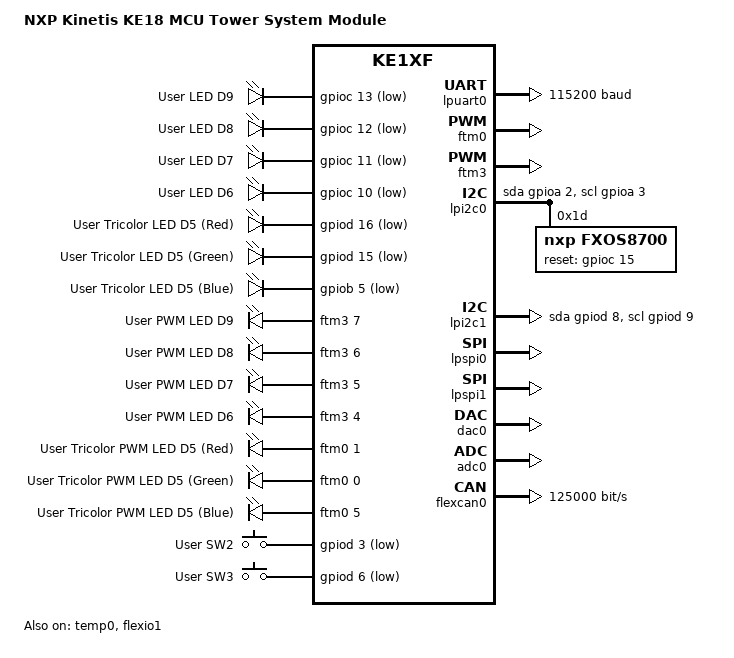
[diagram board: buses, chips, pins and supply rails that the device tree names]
/*
 * Copyright (c) 2019-2021 Vestas Wind Systems A/S
 *
 * SPDX-License-Identifier: Apache-2.0
 */

/dts-v1/;

#include <nxp/nxp_ke18f512vlx16.dtsi>
#include <zephyr/dt-bindings/clock/kinetis_scg.h>
#include <zephyr/dt-bindings/pwm/pwm.h>
#include "twr_ke18f-pinctrl.dtsi"
#include <zephyr/dt-bindings/input/input-event-codes.h>

/ {
	model = "NXP Kinetis KE18 MCU Tower System Module";
	compatible = "nxp,mke18f16", "nxp,ke18f", "nxp,ke1xf";

	aliases {
		led0 = &orange_led;
		led1 = &yellow_led;
		led2 = &green_led;
		led3 = &red_led;
		led4 = &tri_red_led;
		led5 = &tri_green_led;
		led6 = &tri_blue_led;
		pwm-led0 = &orange_pwm_led;
		pwm-led1 = &yellow_pwm_led;
		pwm-led2 = &green_pwm_led;
		pwm-led3 = &red_pwm_led;
		red-pwm-led = &tri_red_pwm_led;
		green-pwm-led = &tri_green_pwm_led;
		blue-pwm-led = &tri_blue_pwm_led;
		sw0 = &user_button_3;
		sw1 = &user_button_2;
		magn0 = &fxos8700;
		accel0 = &fxos8700;
	};

	chosen {
		/*
		 * Note: when using DMA, the SRAM region must be set to
		 * a memory region that is not cached by the chip. If the chosen
		 * sram region is changed and DMA is in use, you will
		 * encounter issues!
		 */
		zephyr,sram = &sram0;
		zephyr,flash = &flash0;
		zephyr,code-partition = &slot0_partition;
		zephyr,console = &lpuart0;
		zephyr,shell-uart = &lpuart0;
		zephyr,uart-pipe = &lpuart0;
		zephyr,canbus = &flexcan0;
	};

	leds {
		compatible = "gpio-leds";
		orange_led: led_0 {
			gpios = <&gpioc 13 GPIO_ACTIVE_LOW>;
			label = "User LED D9";
		};
		yellow_led: led_1 {
			gpios = <&gpioc 12 GPIO_ACTIVE_LOW>;
			label = "User LED D8";
		};
		green_led: led_2 {
			gpios = <&gpioc 11 GPIO_ACTIVE_LOW>;
			label = "User LED D7";
		};
		red_led: led_3 {
			gpios = <&gpioc 10 GPIO_ACTIVE_LOW>;
			label = "User LED D6";
		};

		tri_red_led: led_4 {
			gpios = <&gpiod 16 GPIO_ACTIVE_LOW>;
			label = "User Tricolor LED D5 (Red)";
		};
		tri_green_led: led_5 {
			gpios = <&gpiod 15 GPIO_ACTIVE_LOW>;
			label = "User Tricolor LED D5 (Green)";
		};
		tri_blue_led: led_6 {
			gpios = <&gpiob 5 GPIO_ACTIVE_LOW>;
			label = "User Tricolor LED D5 (Blue)";
		};
	};

	pwmleds {
		compatible = "pwm-leds";
		orange_pwm_led: led_pwm_0 {
			pwms = <&ftm3 7 PWM_MSEC(20) PWM_POLARITY_INVERTED>;
			label = "User PWM LED D9";
		};
		yellow_pwm_led: led_pwm_1 {
			pwms = <&ftm3 6 PWM_MSEC(20) PWM_POLARITY_INVERTED>;
			label = "User PWM LED D8";
		};
		green_pwm_led: led_pwm_2 {
			pwms = <&ftm3 5 PWM_MSEC(20) PWM_POLARITY_INVERTED>;
			label = "User PWM LED D7";
		};
		red_pwm_led: led_pwm_3 {
			pwms = <&ftm3 4 PWM_MSEC(20) PWM_POLARITY_INVERTED>;
			label = "User PWM LED D6";
		};

		tri_red_pwm_led: led_pwm_4 {
			pwms = <&ftm0 1 PWM_MSEC(20) PWM_POLARITY_INVERTED>;
			label = "User Tricolor PWM LED D5 (Red)";
		};
		tri_green_pwm_led: led_pwm_5 {
			pwms = <&ftm0 0 PWM_MSEC(20) PWM_POLARITY_INVERTED>;
			label = "User Tricolor PWM LED D5 (Green)";
		};
		tri_blue_pwm_led: led_pwm_6 {
			pwms = <&ftm0 5 PWM_MSEC(20) PWM_POLARITY_INVERTED>;
			label = "User Tricolor PWM LED D5 (Blue)";
		};
	};

	gpio_keys {
		compatible = "gpio-keys";
		user_button_2: button_0 {
			label = "User SW2";
			gpios = <&gpiod 3 GPIO_ACTIVE_LOW>;
			zephyr,code = <INPUT_KEY_0>;
		};
		user_button_3: button_1 {
			label = "User SW3";
			gpios = <&gpiod 6 GPIO_ACTIVE_LOW>;
			zephyr,code = <INPUT_KEY_1>;
		};
	};
};

&cpu0 {
	clock-frequency = <120000000>;
};

&idle {
	min-residency-us = <1>;
};

&stop {
	min-residency-us = <20000>;
	exit-latency-us = <13>;
};

&sim {
	clkout-source = <1>;
	clkout-divider = <0>;
};

&scg {
	sosc-mode = <KINETIS_SCG_SOSC_MODE_LOW_POWER>;

	sosc_clk {
		status = "okay";
		clock-frequency = <8000000>;
	};

	pll {
		clock-mult = <30>;
	};

	core_clk {
		clocks = <&spll_clk>;
	};

	bus_clk {
		clock-div = <2>;
	};

	slow_clk {
		clock-div = <5>;
	};

	clkout_clk {
		status = "okay";
	};

	splldiv1_clk {
		clock-div = <1>;
	};

	splldiv2_clk {
		clock-div = <2>;
	};

	sircdiv1_clk {
		clock-div = <1>;
	};

	sircdiv2_clk {
		clock-div = <2>;
	};

	fircdiv1_clk {
		clock-div = <1>;
	};

	fircdiv2_clk {
		clock-div = <1>;
	};

	soscdiv1_clk {
		clock-div = <1>;
	};

	soscdiv2_clk {
		clock-div = <1>;
	};
};

&lpuart0 {
	status = "okay";
	current-speed = <115200>;
	pinctrl-0 = <&lpuart0_default>;
	pinctrl-names = "default";
};

&ftm0 {
	status = "okay";
	compatible = "nxp,kinetis-ftm-pwm";
	#pwm-cells = <3>;
	pinctrl-0 = <&ftm0_default>;
	pinctrl-names = "default";
	clock-source = "fixed";
};

&ftm3 {
	status = "okay";
	compatible = "nxp,kinetis-ftm-pwm";
	#pwm-cells = <3>;
	pinctrl-0 = <&ftm3_default>;
	pinctrl-names = "default";
	clock-source = "fixed";
};

&lpi2c0 {
	status = "okay";
	pinctrl-0 = <&lpi2c0_default>;
	pinctrl-names = "default";
	scl-gpios = <&gpioa 3 GPIO_ACTIVE_HIGH>;
	sda-gpios = <&gpioa 2 GPIO_ACTIVE_HIGH>;

	fxos8700: fxos8700@1d {
		compatible = "nxp,fxos8700";
		reg = <0x1d>;
		reset-gpios = <&gpioc 15 GPIO_ACTIVE_HIGH>;
	};
};

&lpi2c1 {
	status = "okay";
	pinctrl-0 = <&lpi2c1_default>;
	pinctrl-names = "default";
	scl-gpios = <&gpiod 9 GPIO_ACTIVE_HIGH>;
	sda-gpios = <&gpiod 8 GPIO_ACTIVE_HIGH>;
};

&lpspi0 {
	dmas = <&edma 0 14>, <&edma 1 15>;
	dma-names = "rx", "tx";
	status = "okay";
	pinctrl-0 = <&lpspi0_default>;
	pinctrl-names = "default";
};

&lpspi1 {
	status = "okay";
	pinctrl-0 = <&lpspi1_default>;
	pinctrl-names = "default";
};

&dac0 {
	status = "okay";
	pinctrl-0 = <&dac0_default>;
	pinctrl-names = "default";
};

&adc0 {
	status = "okay";
	sample-time = <12>;
	pinctrl-0 = <&adc0_default>;
	pinctrl-names = "default";
};

&temp0 {
	status = "okay";
};

&flexcan0 {
	status = "okay";
	bus-speed = <125000>;
	pinctrl-0 = <&flexcan0_default>;
	pinctrl-names = "default";

	can-transceiver {
		max-bitrate = <1000000>;
	};
};

&gpioa {
	status = "okay";
};

&gpiob {
	status = "okay";
};

&gpioc {
	status = "okay";
};

&gpiod {
	status = "okay";
};

&gpioe {
	status = "okay";
};

&edma {
	status = "okay";
};

&flexio1 {
	status = "okay";
};

&flash0 {

	partitions {
		compatible = "fixed-partitions";
		#address-cells = <1>;
		#size-cells = <1>;

		boot_partition: partition@0 {
			label = "mcuboot";
			reg = <0x00000000 0xc000>;
		};
		slot0_partition: partition@c000 {
			label = "image-0";
			reg = <0x0000c000 0x32000>;
		};
		slot1_partition: partition@3e000 {
			label = "image-1";
			reg = <0x0003e000 0x32000>;
		};
		scratch_partition: partition@70000 {
			label = "image-scratch";
			reg = <0x00070000 0xa000>;
		};
		storage_partition: partition@7a000 {
			label = "storage";
			reg = <0x0007a000 0x00006000>;
		};
	};
};
